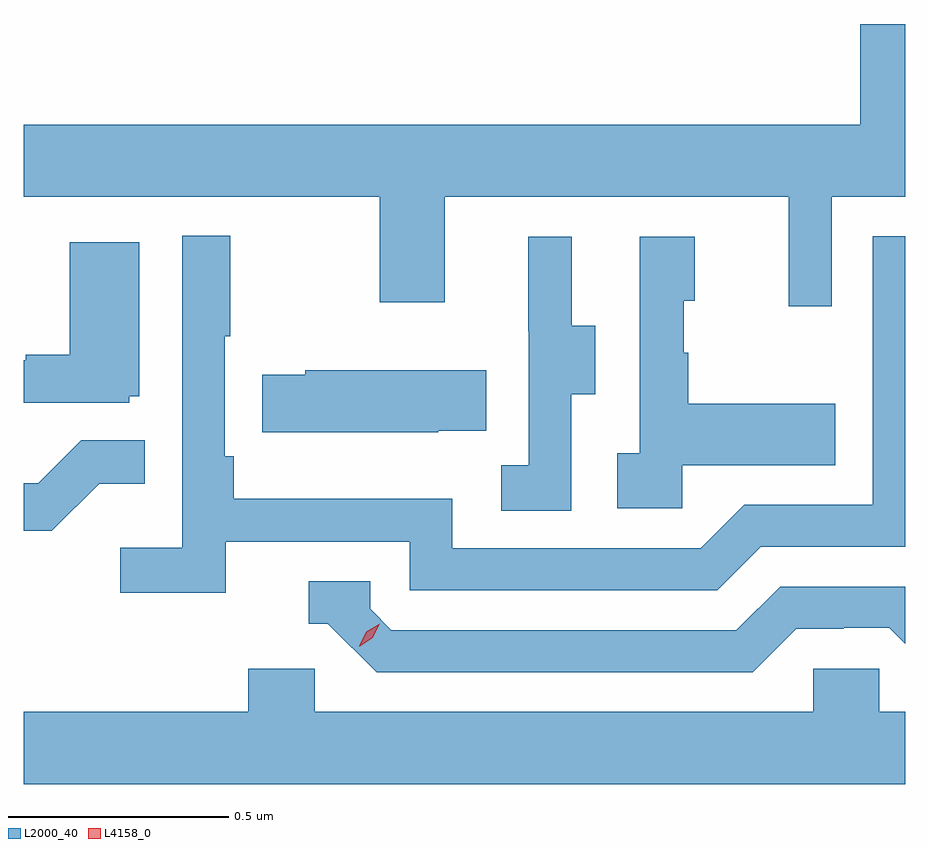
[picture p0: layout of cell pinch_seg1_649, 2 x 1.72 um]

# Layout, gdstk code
import gdstk
lib = gdstk.Library(unit=1e-6, precision=1e-09)
def P(c, l, *ps):  # polygons
    for p in ps: c.add(gdstk.Polygon(p, *l))
L2000_40 = (2000, 40)
L4158_0 = (4158, 0)

pinch_seg1_649 = lib.new_cell('pinch_seg1_649')
P(pinch_seg1_649, L2000_40, [(1080.159,515.768),(1080.326,515.768),(1080.326,516.16),(1080.224,516.16),(1080.224,515.932),(1078.326,515.932),(1078.326,515.768),(1079.134,515.768),(1079.134,515.529),(1079.281,515.529),(1079.281,515.768),(1080.062,515.768),(1080.062,515.52),(1080.159,515.52)],
  [(1078.784,514.986),(1079.202,514.986),(1079.202,514.875),(1079.899,514.875),(1079.998,514.974),(1080.326,514.974),(1080.326,515.679),(1080.252,515.679),(1080.252,515.07),(1079.961,515.07),(1079.862,514.971),(1079.298,514.971),(1079.298,515.083),(1078.802,515.083),(1078.802,515.179),(1078.782,515.179),(1078.782,515.452),(1078.795,515.452),(1078.795,515.68),(1078.686,515.68),(1078.686,514.972),(1078.545,514.972),(1078.545,514.87),(1078.784,514.87)],
  [(1079.568,515.32),(1079.623,515.32),(1079.623,515.475),(1079.569,515.475),(1079.569,515.677),(1079.471,515.677),(1079.471,515.463),(1079.472,515.463),(1079.472,515.159),(1079.409,515.159),(1079.409,515.056),(1079.568,515.056)],
  [(1079.82,515.159),(1080.167,515.159),(1080.167,515.299),(1079.833,515.299),(1079.833,515.414),(1079.823,515.414),(1079.823,515.532),(1079.848,515.532),(1079.848,515.677),(1079.724,515.677),(1079.724,515.186),(1079.673,515.186),(1079.673,515.061),(1079.82,515.061)],
  [(1078.566,515.316),(1078.588,515.316),(1078.588,515.665),(1078.43,515.665),(1078.43,515.41),(1078.331,515.41),(1078.331,515.397),(1078.326,515.397),(1078.326,515.301),(1078.566,515.301)],
  [(1079.267,515.237),(1079.375,515.237),(1079.375,515.374),(1078.965,515.374),(1078.965,515.364),(1078.867,515.364),(1078.867,515.234),(1079.267,515.234)],
  [(1078.497,515.117),(1078.601,515.117),(1078.601,515.216),(1078.457,515.216),(1078.359,515.118),(1078.326,515.118),(1078.326,515.01),(1078.39,515.01)],
  [(1080.079,514.788),(1080.186,514.788),(1080.186,514.791),(1080.289,514.791),(1080.326,514.754),(1080.326,514.884),(1080.042,514.884),(1079.943,514.785),(1079.16,514.785),(1079.112,514.833),(1079.112,514.896),(1078.973,514.896),(1078.973,514.8),(1079.016,514.8),(1079.127,514.689),(1079.98,514.689)],
  [(1080.326,514.6),(1080.267,514.6),(1080.267,514.698),(1080.117,514.698),(1080.117,514.6),(1078.986,514.6),(1078.986,514.698),(1078.835,514.698),(1078.835,514.6),(1078.326,514.6),(1078.326,514.436),(1080.326,514.436)])
P(pinch_seg1_649, L4158_0, [(1079.087,514.748),(1079.087,514.749),(1079.103,514.781),(1079.134,514.8),(1079.134,514.8),(1079.134,514.8),(1079.118,514.768),(1079.088,514.748)])

lib.write_gds('pinch_seg1_649.gds')
